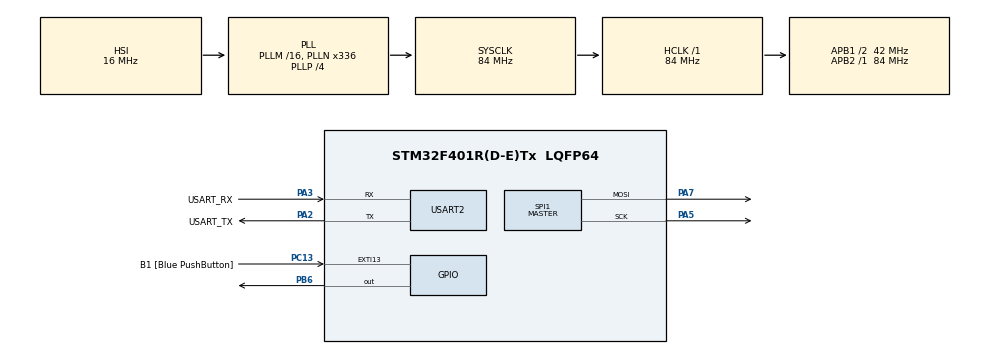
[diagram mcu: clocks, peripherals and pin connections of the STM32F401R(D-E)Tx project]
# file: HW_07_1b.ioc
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Dma.Request0=SPI1_TX
Dma.SPI1_TX.0.Direction=DMA_MEMORY_TO_PERIPH
Dma.SPI1_TX.0.FIFOMode=DMA_FIFOMODE_DISABLE
Dma.SPI1_TX.0.Instance=DMA2_Stream3
Dma.SPI1_TX.0.MemDataAlignment=DMA_MDATAALIGN_BYTE
Dma.SPI1_TX.0.MemInc=DMA_MINC_ENABLE
Dma.SPI1_TX.0.Mode=DMA_NORMAL
Dma.SPI1_TX.0.PeriphDataAlignment=DMA_PDATAALIGN_BYTE
Dma.SPI1_TX.0.PeriphInc=DMA_PINC_DISABLE
Dma.SPI1_TX.0.Priority=DMA_PRIORITY_LOW
Mcu.Family=STM32F4
Mcu.Name=STM32F401R(D-E)Tx
Mcu.Package=LQFP64
NVIC.DMA2_Stream3_IRQn=true\:0\:0\:false\:false\:true\:false\:true\:true
NVIC.PriorityGroup=NVIC_PRIORITYGROUP_0
NVIC.SPI1_IRQn=true\:0\:0\:false\:false\:true\:true\:true\:true
NVIC.TIM1_UP_TIM10_IRQn=true\:0\:0\:false\:false\:true\:true\:true\:true
NVIC.TIM2_IRQn=true\:0\:0\:false\:false\:true\:true\:true\:true
PA13.GPIO_Label=TMS
PA13.Mode=Serial_Wire
PA13.Signal=SYS_JTMS-SWDIO
PA14.GPIO_Label=TCK
PA14.Mode=Serial_Wire
PA14.Signal=SYS_JTCK-SWCLK
PA2.GPIO_Label=USART_TX
PA2.GPIO_Mode=GPIO_MODE_AF_PP
PA2.GPIO_PuPd=GPIO_NOPULL
PA2.GPIO_Speed=GPIO_SPEED_FREQ_LOW
PA2.Mode=Asynchronous
PA2.Signal=USART2_TX
PA3.GPIO_Label=USART_RX
PA3.GPIO_Mode=GPIO_MODE_AF_PP
PA3.GPIO_PuPd=GPIO_NOPULL
PA3.GPIO_Speed=GPIO_SPEED_FREQ_LOW
PA3.Mode=Asynchronous
PA3.Signal=USART2_RX
PA5.Mode=TX_Only_Simplex_Unidirect_Master
PA5.Signal=SPI1_SCK
PA7.Mode=TX_Only_Simplex_Unidirect_Master
PA7.Signal=SPI1_MOSI
PB3.GPIO_Label=SWO
PB3.Signal=SYS_JTDO-SWO
PB6.Signal=GPIO_Output
PC13-ANTI_TAMP.GPIO_Label=B1 [Blue PushButton]
PC13-ANTI_TAMP.GPIO_ModeDefaultEXTI=GPIO_MODE_IT_FALLING
PC13-ANTI_TAMP.GPIO_PuPd=GPIO_NOPULL
PC13-ANTI_TAMP.Signal=GPXTI13
PC14-OSC32_IN.Mode=LSE-External-Oscillator
PC14-OSC32_IN.Signal=RCC_OSC32_IN
PC15-OSC32_OUT.Mode=LSE-External-Oscillator
PC15-OSC32_OUT.Signal=RCC_OSC32_OUT
PH0\ -\ OSC_IN.Mode=HSE-External-Clock-Source
PH0\ -\ OSC_IN.Signal=RCC_OSC_IN
PH1\ -\ OSC_OUT.Mode=HSE-External-Clock-Source
PH1\ -\ OSC_OUT.Signal=RCC_OSC_OUT
ProjectManager.HeapSize=0x200
ProjectManager.StackSize=0x400
ProjectManager.TargetToolchain=STM32CubeIDE
RCC.48MHZClocksFreq_Value=48000000
RCC.AHBFreq_Value=84000000
RCC.APB1CLKDivider=RCC_HCLK_DIV2
RCC.APB1Freq_Value=42000000
RCC.APB1TimFreq_Value=84000000
RCC.APB2Freq_Value=84000000
RCC.APB2TimFreq_Value=84000000
RCC.CortexFreq_Value=84000000
RCC.HCLKFreq_Value=84000000
RCC.HSE_VALUE=8000000
RCC.HSI_VALUE=16000000
RCC.PLLN=336
RCC.PLLP=RCC_PLLP_DIV4
RCC.PLLQ=7
RCC.SYSCLKFreq_VALUE=84000000
RCC.SYSCLKSource=RCC_SYSCLKSOURCE_PLLCLK
RCC.VCOOutputFreq_Value=336000000
SPI1.BaudRatePrescaler=SPI_BAUDRATEPRESCALER_4
SPI1.Direction=SPI_DIRECTION_2LINES
SPI1.Mode=SPI_MODE_MASTER
SPI1.VirtualType=VM_MASTER
TIM10.Channel=TIM_CHANNEL_1
TIM10.Period=400-1
TIM10.Prescaler=480-1
TIM2.Channel-PWM\ Generation1\ No\ Output=TIM_CHANNEL_1
TIM2.Period=20000-1
TIM2.Prescaler=4800-1
USART2.VirtualMode=VM_ASYNC
VP_TIM10_VS_ClockSourceINT.Mode=Enable_Timer
VP_TIM10_VS_no_output1.Mode=PWM Generation1 No Output
VP_TIM2_VS_no_output1.Mode=PWM Generation1 No Output
board=NUCLEO-F401RE

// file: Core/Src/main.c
/* USER CODE BEGIN Header */
/**
  ******************************************************************************
  * @file           : main.c
  * @brief          : Main program body
  ******************************************************************************
  * @attention
  *
  * Copyright (c) 2023 STMicroelectronics.
  * All rights reserved.
  *
  * This software is licensed under terms that can be found in the LICENSE file
  * in the root directory of this software component.
  * If no LICENSE file comes with this software, it is provided AS-IS.
  *
  ******************************************************************************
  */
/* USER CODE END Header */
#include "main.h"

/* USER CODE BEGIN PD */
#define WORD_LENGHT 2
/* USER CODE END PD */

SPI_HandleTypeDef hspi1;
DMA_HandleTypeDef hdma_spi1_tx;

TIM_HandleTypeDef htim2;
TIM_HandleTypeDef htim10;

UART_HandleTypeDef huart2;

/* USER CODE BEGIN PV */
int index_letter = 0;
int index_word = 0;

uint8_t A[10] = {31,16,36,8,68,4,36,2,31,1};
uint8_t FIVE[10] = {121,16,73,8,73,4,73,2,70,1};
uint8_t *buffer;

char Word[WORD_LENGHT]={'A','5'};
/* USER CODE END PV */

void SystemClock_Config(void);
static void MX_GPIO_Init(void);
static void MX_DMA_Init(void);
static void MX_USART2_UART_Init(void);
static void MX_SPI1_Init(void);
static void MX_TIM10_Init(void);
static void MX_TIM2_Init(void);

/* USER CODE BEGIN 0 */
void HAL_TIM_PeriodElapsedCallback(TIM_HandleTypeDef *htim)
{

	if(htim == &htim10){

		//HAL_GPIO_TogglePin(GPIOB,GPIO_PIN_6);
		HAL_GPIO_WritePin(GPIOB, GPIO_PIN_6, GPIO_PIN_RESET);
	    HAL_SPI_Transmit_DMA(&hspi1,&buffer[index_letter],2);

		index_letter+=2;

		if(index_letter == 10)
		{
			index_letter = 0;
		}

	}
	if(htim == &htim2){

		switch(Word[index_word])
		{
			case 'A': buffer = A;
			break;
			case '5': buffer = FIVE;
			break;
		}

		index_word++;

		if(index_word == WORD_LENGHT)
		{
			index_word = 0;
		}
	}
}

void HAL_SPI_TxCpltCallback(SPI_HandleTypeDef *hspi)
{
	//HAL_GPIO_TogglePin(GPIOB,GPIO_PIN_6);
	HAL_GPIO_WritePin(GPIOB, GPIO_PIN_6, GPIO_PIN_SET);

}
/* USER CODE END 0 */

int main(void)
{

  /* MCU Configuration--------------------------------------------------------*/

  /* Reset of all peripherals, Initializes the Flash interface and the Systick. */
  HAL_Init();

  /* Configure the system clock */
  SystemClock_Config();

  /* Initialize all configured peripherals */
  MX_GPIO_Init();
  MX_DMA_Init();
  MX_USART2_UART_Init();
  MX_SPI1_Init();
  MX_TIM10_Init();
  MX_TIM2_Init();
  /* USER CODE BEGIN 2 */
  HAL_TIM_Base_Start_IT(&htim10);
  HAL_TIM_Base_Start_IT(&htim2);

  HAL_GPIO_TogglePin(GPIOB,GPIO_PIN_6);
  HAL_SPI_Transmit_DMA(&hspi1,&buffer[0],2);
  /* USER CODE END 2 */

  /* Infinite loop */
  while (1)
  {

  }
}

void SystemClock_Config(void)
{
  RCC_OscInitTypeDef RCC_OscInitStruct = {0};
  RCC_ClkInitTypeDef RCC_ClkInitStruct = {0};

  /** Configure the main internal regulator output voltage
  */
  __HAL_RCC_PWR_CLK_ENABLE();
  __HAL_PWR_VOLTAGESCALING_CONFIG(PWR_REGULATOR_VOLTAGE_SCALE2);

  /** Initializes the RCC Oscillators according to the specified parameters
  * in the RCC_OscInitTypeDef structure.
  */
  RCC_OscInitStruct.OscillatorType = RCC_OSCILLATORTYPE_HSI;
  RCC_OscInitStruct.HSIState = RCC_HSI_ON;
  RCC_OscInitStruct.HSICalibrationValue = RCC_HSICALIBRATION_DEFAULT;
  RCC_OscInitStruct.PLL.PLLState = RCC_PLL_ON;
  RCC_OscInitStruct.PLL.PLLSource = RCC_PLLSOURCE_HSI;
  RCC_OscInitStruct.PLL.PLLM = 16;
  RCC_OscInitStruct.PLL.PLLN = 336;
  RCC_OscInitStruct.PLL.PLLP = RCC_PLLP_DIV4;
  RCC_OscInitStruct.PLL.PLLQ = 7;
  if (HAL_RCC_OscConfig(&RCC_OscInitStruct) != HAL_OK)
  {
    Error_Handler();
  }

  /** Initializes the CPU, AHB and APB buses clocks
  */
  RCC_ClkInitStruct.ClockType = RCC_CLOCKTYPE_HCLK|RCC_CLOCKTYPE_SYSCLK
                              |RCC_CLOCKTYPE_PCLK1|RCC_CLOCKTYPE_PCLK2;
  RCC_ClkInitStruct.SYSCLKSource = RCC_SYSCLKSOURCE_PLLCLK;
  RCC_ClkInitStruct.AHBCLKDivider = RCC_SYSCLK_DIV1;
  RCC_ClkInitStruct.APB1CLKDivider = RCC_HCLK_DIV2;
  RCC_ClkInitStruct.APB2CLKDivider = RCC_HCLK_DIV1;

  if (HAL_RCC_ClockConfig(&RCC_ClkInitStruct, FLASH_LATENCY_2) != HAL_OK)
  {
    Error_Handler();
  }
}

static void MX_SPI1_Init(void)
{

  /* SPI1 parameter configuration*/
  hspi1.Instance = SPI1;
  hspi1.Init.Mode = SPI_MODE_MASTER;
  hspi1.Init.Direction = SPI_DIRECTION_2LINES;
  hspi1.Init.DataSize = SPI_DATASIZE_8BIT;
  hspi1.Init.CLKPolarity = SPI_POLARITY_LOW;
  hspi1.Init.CLKPhase = SPI_PHASE_1EDGE;
  hspi1.Init.NSS = SPI_NSS_SOFT;
  hspi1.Init.BaudRatePrescaler = SPI_BAUDRATEPRESCALER_4;
  hspi1.Init.FirstBit = SPI_FIRSTBIT_MSB;
  hspi1.Init.TIMode = SPI_TIMODE_DISABLE;
  hspi1.Init.CRCCalculation = SPI_CRCCALCULATION_DISABLE;
  hspi1.Init.CRCPolynomial = 10;
  if (HAL_SPI_Init(&hspi1) != HAL_OK)
  {
    Error_Handler();
  }

}

static void MX_TIM2_Init(void)
{

  TIM_MasterConfigTypeDef sMasterConfig = {0};
  TIM_OC_InitTypeDef sConfigOC = {0};

  htim2.Instance = TIM2;
  htim2.Init.Prescaler = 4800-1;
  htim2.Init.CounterMode = TIM_COUNTERMODE_UP;
  htim2.Init.Period = 20000-1;
  htim2.Init.ClockDivision = TIM_CLOCKDIVISION_DIV1;
  htim2.Init.AutoReloadPreload = TIM_AUTORELOAD_PRELOAD_DISABLE;
  if (HAL_TIM_PWM_Init(&htim2) != HAL_OK)
  {
    Error_Handler();
  }
  sMasterConfig.MasterOutputTrigger = TIM_TRGO_RESET;
  sMasterConfig.MasterSlaveMode = TIM_MASTERSLAVEMODE_DISABLE;
  if (HAL_TIMEx_MasterConfigSynchronization(&htim2, &sMasterConfig) != HAL_OK)
  {
    Error_Handler();
  }
  sConfigOC.OCMode = TIM_OCMODE_PWM1;
  sConfigOC.Pulse = 0;
  sConfigOC.OCPolarity = TIM_OCPOLARITY_HIGH;
  sConfigOC.OCFastMode = TIM_OCFAST_DISABLE;
  if (HAL_TIM_PWM_ConfigChannel(&htim2, &sConfigOC, TIM_CHANNEL_1) != HAL_OK)
  {
    Error_Handler();
  }

}

static void MX_TIM10_Init(void)
{

  TIM_OC_InitTypeDef sConfigOC = {0};

  htim10.Instance = TIM10;
  htim10.Init.Prescaler = 480-1;
  htim10.Init.CounterMode = TIM_COUNTERMODE_UP;
  htim10.Init.Period = 400-1;
  htim10.Init.ClockDivision = TIM_CLOCKDIVISION_DIV1;
  htim10.Init.AutoReloadPreload = TIM_AUTORELOAD_PRELOAD_DISABLE;
  if (HAL_TIM_Base_Init(&htim10) != HAL_OK)
  {
    Error_Handler();
  }
  if (HAL_TIM_PWM_Init(&htim10) != HAL_OK)
  {
    Error_Handler();
  }
  sConfigOC.OCMode = TIM_OCMODE_PWM1;
  sConfigOC.Pulse = 0;
  sConfigOC.OCPolarity = TIM_OCPOLARITY_HIGH;
  sConfigOC.OCFastMode = TIM_OCFAST_DISABLE;
  if (HAL_TIM_PWM_ConfigChannel(&htim10, &sConfigOC, TIM_CHANNEL_1) != HAL_OK)
  {
    Error_Handler();
  }

}

static void MX_USART2_UART_Init(void)
{

  huart2.Instance = USART2;
  huart2.Init.BaudRate = 115200;
  huart2.Init.WordLength = UART_WORDLENGTH_8B;
  huart2.Init.StopBits = UART_STOPBITS_1;
  huart2.Init.Parity = UART_PARITY_NONE;
  huart2.Init.Mode = UART_MODE_TX_RX;
  huart2.Init.HwFlowCtl = UART_HWCONTROL_NONE;
  huart2.Init.OverSampling = UART_OVERSAMPLING_16;
  if (HAL_UART_Init(&huart2) != HAL_OK)
  {
    Error_Handler();
  }

}

static void MX_DMA_Init(void)
{

  /* DMA controller clock enable */
  __HAL_RCC_DMA2_CLK_ENABLE();

  /* DMA interrupt init */
  /* DMA2_Stream3_IRQn interrupt configuration */
  HAL_NVIC_SetPriority(DMA2_Stream3_IRQn, 0, 0);
  HAL_NVIC_EnableIRQ(DMA2_Stream3_IRQn);

}

static void MX_GPIO_Init(void)
{
  GPIO_InitTypeDef GPIO_InitStruct = {0};

  /* GPIO Ports Clock Enable */
  __HAL_RCC_GPIOC_CLK_ENABLE();
  __HAL_RCC_GPIOH_CLK_ENABLE();
  __HAL_RCC_GPIOA_CLK_ENABLE();
  __HAL_RCC_GPIOB_CLK_ENABLE();

  /*Configure GPIO pin Output Level */
  HAL_GPIO_WritePin(GPIOB, GPIO_PIN_6, GPIO_PIN_RESET);

  /*Configure GPIO pin : B1_Pin */
  GPIO_InitStruct.Pin = B1_Pin;
  GPIO_InitStruct.Mode = GPIO_MODE_IT_FALLING;
  GPIO_InitStruct.Pull = GPIO_NOPULL;
  HAL_GPIO_Init(B1_GPIO_Port, &GPIO_InitStruct);

  /*Configure GPIO pin : PB6 */
  GPIO_InitStruct.Pin = GPIO_PIN_6;
  GPIO_InitStruct.Mode = GPIO_MODE_OUTPUT_PP;
  GPIO_InitStruct.Pull = GPIO_NOPULL;
  GPIO_InitStruct.Speed = GPIO_SPEED_FREQ_LOW;
  HAL_GPIO_Init(GPIOB, &GPIO_InitStruct);

}

void Error_Handler(void)
{
  __disable_irq();
  while (1)
  {
  }
}
